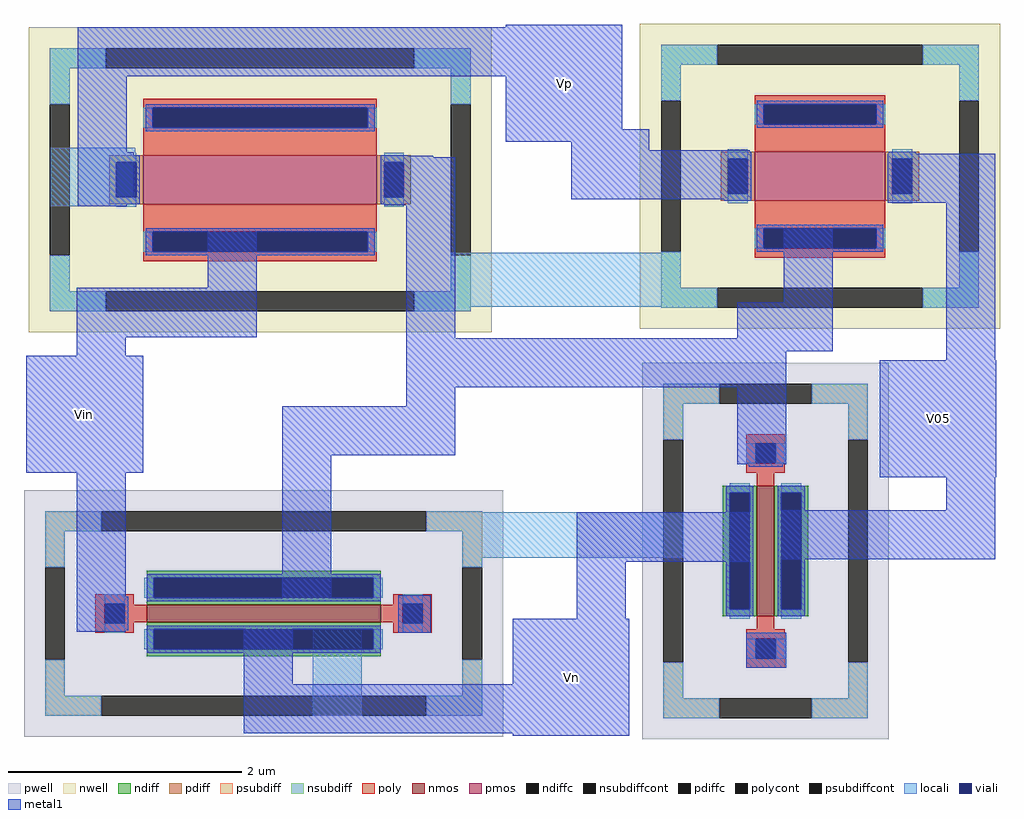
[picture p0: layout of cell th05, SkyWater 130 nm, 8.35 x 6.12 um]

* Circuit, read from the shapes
.subckt th05 Vp V05 Vin Vn
XM1 n1 Vin Vn Vn sky130_fd_pr__nfet_01v8 w=2 l=0.15
XM2 V05 n1 Vn Vn sky130_fd_pr__nfet_01v8 w=1.12 l=0.15
XM3 n1 Vin Vp Vp sky130_fd_pr__pfet_01v8 w=0.42 l=2
XM4 V05 n1 Vp Vp sky130_fd_pr__pfet_01v8 w=0.42 l=1.12
.ends

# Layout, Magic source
magic
tech sky130A
magscale 1 2
<< locali >>
rect 440 -54 584 46
rect 1124 -226 1518 -134
rect 1146 -656 1522 -578
rect 888 -926 972 -778
<< metal1 >>
rect 1218 252 1418 256
rect 486 168 1418 252
rect 486 38 570 168
rect 1218 78 1418 168
rect 1218 56 1464 78
rect 1330 42 1464 56
rect 486 -50 582 38
rect 1010 30 1094 32
rect 486 -54 570 -50
rect 1010 -52 1132 30
rect 1330 -42 1636 42
rect 1872 -48 2056 36
rect 708 -194 792 -98
rect 484 -278 792 -194
rect 484 -310 568 -278
rect 1048 -280 1132 -52
rect 1694 -218 1778 -92
rect 1614 -280 1778 -218
rect 1048 -302 1778 -280
rect 398 -510 598 -310
rect 1048 -364 1698 -302
rect 1972 -318 2056 -48
rect 1048 -396 1132 -364
rect 836 -480 1132 -396
rect 484 -782 568 -510
rect 836 -724 920 -480
rect 1614 -496 1698 -364
rect 1858 -518 2058 -318
rect 1972 -574 2056 -518
rect 1340 -662 1636 -578
rect 1690 -658 2056 -574
rect 770 -872 854 -778
rect 1034 -784 1090 -720
rect 1340 -760 1424 -662
rect 1230 -872 1430 -760
rect 1630 -844 1698 -784
rect 770 -956 1430 -872
rect 1230 -960 1430 -956
use sky130_fd_pr__nfet_01v8_ATLS57  XM0
transform 0 -1 804 1 0 -751
box -211 -410 211 410
use sky130_fd_pr__pfet_01v8_VZ9GC6  XM1
transform 1 0 798 0 1 -9
box -396 -261 396 261
use sky130_fd_pr__pfet_01v8_PZD9SE  XM2
transform 1 0 1756 0 1 -3
box -308 -261 308 261
use sky130_fd_pr__nfet_01v8_UNLS3X  XM3
transform 1 0 1663 0 1 -644
box -211 -322 211 322
<< labels >>
flabel metal1 398 -510 598 -310 0 FreeSans 256 0 0 0 Vin
port 2 nsew
flabel metal1 1218 56 1418 256 0 FreeSans 256 0 0 0 Vp
port 0 nsew
flabel metal1 1230 -960 1430 -760 0 FreeSans 256 0 0 0 Vn
port 3 nsew
flabel metal1 1858 -518 2058 -318 0 FreeSans 256 0 0 0 V05
port 1 nsew
<< end >>

# cell sky130_fd_pr__nfet_01v8_ATLS57: kit device sky130_fd_pr__nfet_01v8, w 2.0 l 0.15 m 1 nf 1 diffcov 100 polycov 100 guard 1 glc 1 grc 1 gtc 1 gbc 1 tbcov 100 rlcov 100 topc 1 botc 1 poverlap 0 doverlap 1 lmin 0.15 wmin 0.42 compatible {sky130_fd_pr__nfet_01v8 sky130_fd_pr__nfet_01v8_lvt sky130_fd_bs_flash__special_sonosfet_star sky130_fd_pr__nfet_g5v0d10v5 sky130_fd_pr__nfet_05v0_nvt sky130_fd_pr__nfet_03v3_nvt} full_metal 1 viasrc 100 viadrn 100 viagate 100 viagb 0 viagr 0 viagl 0 viagt 0

# cell sky130_fd_pr__pfet_01v8_VZ9GC6: kit device sky130_fd_pr__pfet_01v8, w 0.42 l 2.0 m 1 nf 1 diffcov 100 polycov 100 guard 1 glc 1 grc 1 gtc 1 gbc 1 tbcov 100 rlcov 100 topc 1 botc 1 poverlap 0 doverlap 1 lmin 0.15 wmin 0.42 compatible {sky130_fd_pr__pfet_01v8 sky130_fd_pr__pfet_01v8_lvt sky130_fd_pr__pfet_01v8_hvt sky130_fd_pr__pfet_g5v0d10v5} full_metal 1 viasrc 100 viadrn 100 viagate 100 viagb 0 viagr 0 viagl 0 viagt 0

# cell sky130_fd_pr__pfet_01v8_PZD9SE: kit device sky130_fd_pr__pfet_01v8, w 0.42 l 1.12 m 1 nf 1 diffcov 100 polycov 100 guard 1 glc 1 grc 1 gtc 1 gbc 1 tbcov 100 rlcov 100 topc 1 botc 1 poverlap 0 doverlap 1 lmin 0.15 wmin 0.42 compatible {sky130_fd_pr__pfet_01v8 sky130_fd_pr__pfet_01v8_lvt sky130_fd_pr__pfet_01v8_hvt sky130_fd_pr__pfet_g5v0d10v5} full_metal 1 viasrc 100 viadrn 100 viagate 100 viagb 0 viagr 0 viagl 0 viagt 0

# cell sky130_fd_pr__nfet_01v8_UNLS3X: kit device sky130_fd_pr__nfet_01v8, w 1.12 l 0.15 m 1 nf 1 diffcov 100 polycov 100 guard 1 glc 1 grc 1 gtc 1 gbc 1 tbcov 100 rlcov 100 topc 1 botc 1 poverlap 0 doverlap 1 lmin 0.15 wmin 0.42 compatible {sky130_fd_pr__nfet_01v8 sky130_fd_pr__nfet_01v8_lvt sky130_fd_bs_flash__special_sonosfet_star sky130_fd_pr__nfet_g5v0d10v5 sky130_fd_pr__nfet_05v0_nvt sky130_fd_pr__nfet_03v3_nvt} full_metal 1 viasrc 100 viadrn 100 viagate 100 viagb 0 viagr 0 viagl 0 viagt 0
